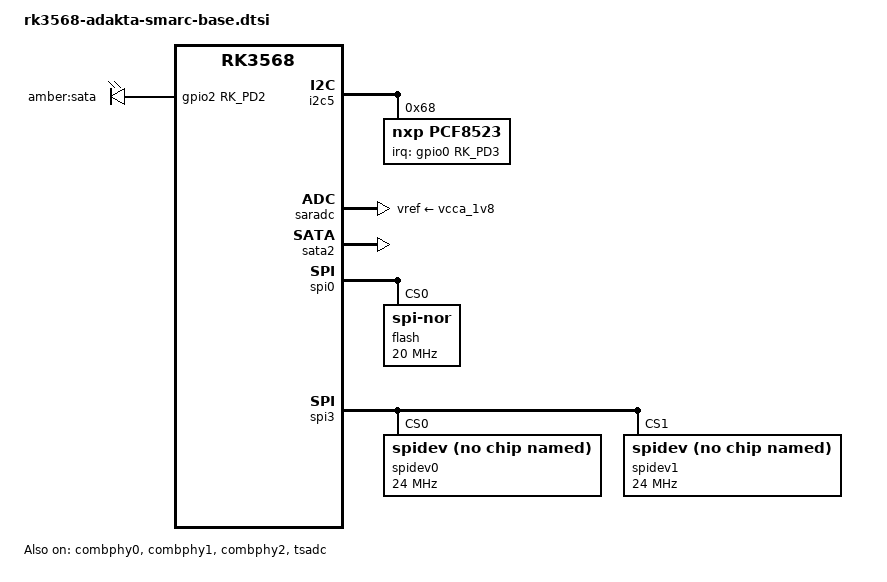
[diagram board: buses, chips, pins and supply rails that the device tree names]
// SPDX-License-Identifier: (GPL-2.0+ OR MIT)
/*
 * Copyright (c) 2024 Adakta, Ltd.
 *
 */

#include <dt-bindings/gpio/gpio.h>
#include <dt-bindings/leds/common.h>
#include <dt-bindings/pinctrl/rockchip.h>
#include <dt-bindings/soc/rockchip,vop2.h>
#include "rk3568.dtsi"

#include "rk3568-adakta-smarc-base-can.dtsi"
#include "rk3568-adakta-smarc-base-display.dtsi"
#include "rk3568-adakta-smarc-base-ethernet.dtsi"
#include "rk3568-adakta-smarc-base-i2c.dtsi"
#include "rk3568-adakta-smarc-base-i2s.dtsi"
#include "rk3568-adakta-smarc-base-mmc.dtsi"
#include "rk3568-adakta-smarc-base-pcie.dtsi"
#include "rk3568-adakta-smarc-base-pmu.dtsi"
#include "rk3568-adakta-smarc-base-pwm.dtsi"
#include "rk3568-adakta-smarc-base-sound.dtsi"
#include "rk3568-adakta-smarc-base-spi.dtsi"
#include "rk3568-adakta-smarc-base-uart.dtsi"
#include "rk3568-adakta-smarc-base-usb.dtsi"

/ {
	chosen {
		stdout-path = "serial2:1500000n8";
	};

	leds {
		compatible = "gpio-leds";
		pinctrl-names = "default";
		pinctrl-0 = <&led_sata_en>;

		led_sata: sata {
			label = "amber:sata";
			gpios = <&gpio2 RK_PD2 GPIO_ACTIVE_HIGH>;
		};
	};
};

&combphy0 {
	status = "okay";
};

&combphy1 {
	status = "okay";
};

&combphy2 {
	status = "okay";
};

&i2c5 {
	pcf8523: pcf8523@68 {
		compatible = "nxp,pcf8523";
		reg = <0x68>;
		interrupt-parent = <&gpio0>;
		interrupts = <RK_PD3 IRQ_TYPE_LEVEL_LOW>;
		pinctrl-names = "default";
		pinctrl-0 = <&rtcic_int_l>;
		wakeup-source;
	};
};

&pinctrl {
	rtc {
		/omit-if-no-ref/
		rtcic_int_l: rtcic-int-l {
			rockchip,pins = <0 RK_PD3 RK_FUNC_GPIO &pcfg_pull_up>;
		};
	};

	sata {
		led_sata_en: led-sata-en {
			rockchip,pins = <2 RK_PD2 RK_FUNC_GPIO &pcfg_output_high>;
		};
	};
};

&saradc {
	vref-supply = <&vcca_1v8>;
	status = "okay";
};

&sata2 {
	status = "okay";
};

&spi0 {
	flash@0 {
		compatible = "jedec,spi-nor";
		reg = <0>;
		spi-max-frequency = <20000000>;
	};
};

/* N/A */
&spi3 {
	spidev0: spi@0 {
		compatible = "spidev";
		reg = <0>;
		spi-max-frequency = <24000000>;
	};

	spidev1: spi@1 {
		compatible = "spidev";
		reg = <1>;
		spi-max-frequency = <24000000>;
	};
};

&tsadc {
	rockchip,hw-tshut-mode = <1>;
	rockchip,hw-tshut-polarity = <0>;
	status = "okay";
};
